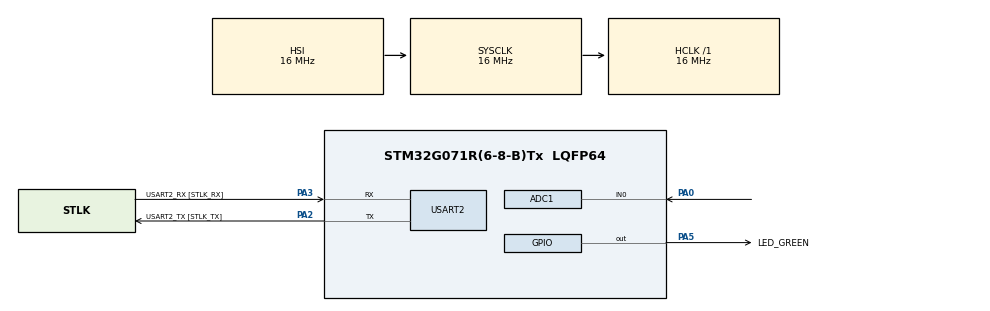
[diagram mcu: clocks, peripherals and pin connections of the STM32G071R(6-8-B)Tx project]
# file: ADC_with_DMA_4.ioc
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ADC1.Channel-0\#ChannelRegularConversion=ADC_CHANNEL_0
ADC1.ContinuousConvMode=ENABLE
ADC1.DMAContinuousRequests=ENABLE
ADC1.NbrOfConversionFlag=1
ADC1.Rank-0\#ChannelRegularConversion=1
ADC1.SamplingTime-0\#ChannelRegularConversion=ADC_SAMPLINGTIME_COMMON_1
ADC1.SelectedChannel=ADC_CHANNEL_0
ADC1.master=1
Dma.ADC1.0.Direction=DMA_PERIPH_TO_MEMORY
Dma.ADC1.0.EventEnable=DISABLE
Dma.ADC1.0.Instance=DMA1_Channel1
Dma.ADC1.0.MemDataAlignment=DMA_MDATAALIGN_WORD
Dma.ADC1.0.MemInc=DMA_MINC_ENABLE
Dma.ADC1.0.Mode=DMA_CIRCULAR
Dma.ADC1.0.PeriphDataAlignment=DMA_PDATAALIGN_WORD
Dma.ADC1.0.PeriphInc=DMA_PINC_DISABLE
Dma.ADC1.0.Polarity=HAL_DMAMUX_REQ_GEN_RISING
Dma.ADC1.0.Priority=DMA_PRIORITY_LOW
Dma.ADC1.0.RequestNumber=1
Dma.ADC1.0.SignalID=NONE
Dma.ADC1.0.SyncEnable=DISABLE
Dma.ADC1.0.SyncPolarity=HAL_DMAMUX_SYNC_NO_EVENT
Dma.ADC1.0.SyncRequestNumber=1
Dma.ADC1.0.SyncSignalID=NONE
Dma.Request0=ADC1
Mcu.Family=STM32G0
Mcu.Name=STM32G071R(6-8-B)Tx
Mcu.Package=LQFP64
NVIC.DMA1_Channel1_IRQn=true\:0\:0\:false\:false\:true\:false\:true
PA0.Mode=IN0
PA0.Signal=ADC1_IN0
PA13.GPIO_Label=TMS
PA13.Signal=SYS_SWDIO
PA14-BOOT0.GPIO_Label=TCK
PA14-BOOT0.Signal=SYS_SWCLK
PA2.GPIO_Label=USART2_TX [STLK_TX]
PA2.Mode=Asynchronous
PA2.Signal=USART2_TX
PA3.GPIO_Label=USART2_RX [STLK_RX]
PA3.Mode=Asynchronous
PA3.Signal=USART2_RX
PA5.GPIO_Label=LED_GREEN
PA5.GPIO_Speed=GPIO_SPEED_FREQ_HIGH
PA5.Signal=GPIO_Output
PC13.Signal=SYS_WKUP2
PC14-OSC32_IN\ (PC14).Signal=RCC_OSC32_IN
PC15-OSC32_OUT\ (PC15).Signal=RCC_OSC32_OUT
PF0-OSC_IN\ (PF0).GPIO_Label=MCO
PF0-OSC_IN\ (PF0).Signal=RCC_OSC_IN
ProjectManager.HeapSize=0x200
ProjectManager.StackSize=0x400
ProjectManager.TargetToolchain=STM32CubeIDE
RCC.AHBFreq_Value=16000000
RCC.CortexFreq_Value=16000000
RCC.EXTERNAL_CLOCK_VALUE=12288000
RCC.HCLKFreq_Value=16000000
RCC.HSE_VALUE=8000000
RCC.HSI_VALUE=16000000
RCC.LSE_VALUE=32768
RCC.SYSCLKFreq_VALUE=16000000
RCC.VCOOutputFreq_Value=128000000
TIM6.Prescaler=16000-1
USART2.VirtualMode-Asynchronous=VM_ASYNC
VP_SYS_VS_DBSignals.Mode=DisableDeadBatterySignals
VP_TIM6_VS_ClockSourceINT.Mode=Enable_Timer
board=NUCLEO-G071RB

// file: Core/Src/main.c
/* USER CODE BEGIN Header */
/**
  ******************************************************************************
  * @file           : main.c
  * @brief          : Main program body
  ******************************************************************************
  * @attention
  *
  * <h2><center>&copy; Copyright (c) 2023 STMicroelectronics.
  * All rights reserved.</center></h2>
  *
  * This software component is licensed by ST under BSD 3-Clause license,
  * the "License"; You may not use this file except in compliance with the
  * License. You may obtain a copy of the License at:
  *                        opensource.org/licenses/BSD-3-Clause
  *
  ******************************************************************************
  */
/* USER CODE END Header */
#include "main.h"

ADC_HandleTypeDef hadc1;
DMA_HandleTypeDef hdma_adc1;

TIM_HandleTypeDef htim6;

UART_HandleTypeDef huart2;

void SystemClock_Config(void);
static void MX_GPIO_Init(void);
static void MX_DMA_Init(void);
static void MX_ADC1_Init(void);
static void MX_TIM6_Init(void);
static void MX_USART2_UART_Init(void);
/* USER CODE BEGIN PFP */
void DMATransferComplete(DMA_HandleTypeDef *hdma);
/* USER CODE END PFP */

int main(void)
{
  /* USER CODE BEGIN 1 */
	int adc_value = 0;
	int msg[10];
	int count;
	//uint32_t channel_0_raw;
	int time1,time2,final_time;
  /* USER CODE END 1 */

  /* MCU Configuration--------------------------------------------------------*/

  /* Reset of all peripherals, Initializes the Flash interface and the Systick. */
  HAL_Init();

  /* Configure the system clock */
  SystemClock_Config();

  /* Initialize all configured peripherals */
  MX_GPIO_Init();
  MX_DMA_Init();
  MX_ADC1_Init();
  MX_TIM6_Init();
  MX_USART2_UART_Init();
  /* USER CODE BEGIN 2 */
  HAL_DMA_RegisterCallback(&hadc1, HAL_DMA_XFER_CPLT_CB_ID, &HAL_ADC_ConvCpltCallback);
  HAL_ADC_Start_DMA(&hadc1, (uint32_t *)&adc_value, 1);
  HAL_TIM_Base_Start(&htim6);
  /* USER CODE END 2 */

  /* Infinite loop */
  /* USER CODE BEGIN WHILE */
  while (1)
  {
	  time1 =__HAL_TIM_GET_COUNTER(&htim6);
	  final_time = 0;
	  count = 0;

	  while(final_time<1000){
//		  HAL_ADC_Start(&hadc1);
//		  HAL_ADC_PollForConversion(&hadc1, HAL_MAX_DELAY);
//		  adc_value = HAL_ADC_GetValue(&hadc1);
		  //sprintf(msg,"%hu\r\n",adc_value);
		  //HAL_UART_Transmit(&huart2, (uint8_t*)msg, strlen(msg), 10);
		  count++;
		  time2 = __HAL_TIM_GET_COUNTER(&htim6);
		  final_time = time2 - time1;
	  }

	  sprintf(msg,"rate = %hu  ",count);
	  HAL_UART_Transmit(&huart2, (uint8_t*)msg,strlen(msg), HAL_MAX_DELAY);
	  sprintf(msg,"adc = %hu\r\n",adc_value);
	  HAL_UART_Transmit(&huart2, (uint8_t*)msg,strlen(msg), HAL_MAX_DELAY);
    /* USER CODE END WHILE */

  }
}

void SystemClock_Config(void)
{
  RCC_OscInitTypeDef RCC_OscInitStruct = {0};
  RCC_ClkInitTypeDef RCC_ClkInitStruct = {0};
  RCC_PeriphCLKInitTypeDef PeriphClkInit = {0};

  /** Configure the main internal regulator output voltage
  */
  HAL_PWREx_ControlVoltageScaling(PWR_REGULATOR_VOLTAGE_SCALE1);
  /** Initializes the RCC Oscillators according to the specified parameters
  * in the RCC_OscInitTypeDef structure.
  */
  RCC_OscInitStruct.OscillatorType = RCC_OSCILLATORTYPE_HSI;
  RCC_OscInitStruct.HSIState = RCC_HSI_ON;
  RCC_OscInitStruct.HSIDiv = RCC_HSI_DIV1;
  RCC_OscInitStruct.HSICalibrationValue = RCC_HSICALIBRATION_DEFAULT;
  RCC_OscInitStruct.PLL.PLLState = RCC_PLL_NONE;
  if (HAL_RCC_OscConfig(&RCC_OscInitStruct) != HAL_OK)
  {
    Error_Handler();
  }
  /** Initializes the CPU, AHB and APB buses clocks
  */
  RCC_ClkInitStruct.ClockType = RCC_CLOCKTYPE_HCLK|RCC_CLOCKTYPE_SYSCLK
                              |RCC_CLOCKTYPE_PCLK1;
  RCC_ClkInitStruct.SYSCLKSource = RCC_SYSCLKSOURCE_HSI;
  RCC_ClkInitStruct.AHBCLKDivider = RCC_SYSCLK_DIV1;
  RCC_ClkInitStruct.APB1CLKDivider = RCC_HCLK_DIV1;

  if (HAL_RCC_ClockConfig(&RCC_ClkInitStruct, FLASH_LATENCY_0) != HAL_OK)
  {
    Error_Handler();
  }
  /** Initializes the peripherals clocks
  */
  PeriphClkInit.PeriphClockSelection = RCC_PERIPHCLK_USART2|RCC_PERIPHCLK_ADC;
  PeriphClkInit.Usart2ClockSelection = RCC_USART2CLKSOURCE_PCLK1;
  PeriphClkInit.AdcClockSelection = RCC_ADCCLKSOURCE_SYSCLK;
  if (HAL_RCCEx_PeriphCLKConfig(&PeriphClkInit) != HAL_OK)
  {
    Error_Handler();
  }
}

static void MX_ADC1_Init(void)
{

  ADC_ChannelConfTypeDef sConfig = {0};

  /** Configure the global features of the ADC (Clock, Resolution, Data Alignment and number of conversion)
  */
  hadc1.Instance = ADC1;
  hadc1.Init.ClockPrescaler = ADC_CLOCK_SYNC_PCLK_DIV2;
  hadc1.Init.Resolution = ADC_RESOLUTION_12B;
  hadc1.Init.DataAlign = ADC_DATAALIGN_RIGHT;
  hadc1.Init.ScanConvMode = ADC_SCAN_DISABLE;
  hadc1.Init.EOCSelection = ADC_EOC_SINGLE_CONV;
  hadc1.Init.LowPowerAutoWait = DISABLE;
  hadc1.Init.LowPowerAutoPowerOff = DISABLE;
  hadc1.Init.ContinuousConvMode = ENABLE;
  hadc1.Init.NbrOfConversion = 1;
  hadc1.Init.DiscontinuousConvMode = DISABLE;
  hadc1.Init.ExternalTrigConv = ADC_SOFTWARE_START;
  hadc1.Init.ExternalTrigConvEdge = ADC_EXTERNALTRIGCONVEDGE_NONE;
  hadc1.Init.DMAContinuousRequests = ENABLE;
  hadc1.Init.Overrun = ADC_OVR_DATA_PRESERVED;
  hadc1.Init.SamplingTimeCommon1 = ADC_SAMPLETIME_1CYCLE_5;
  hadc1.Init.SamplingTimeCommon2 = ADC_SAMPLETIME_1CYCLE_5;
  hadc1.Init.OversamplingMode = DISABLE;
  hadc1.Init.TriggerFrequencyMode = ADC_TRIGGER_FREQ_HIGH;
  if (HAL_ADC_Init(&hadc1) != HAL_OK)
  {
    Error_Handler();
  }
  /** Configure Regular Channel
  */
  sConfig.Channel = ADC_CHANNEL_0;
  sConfig.Rank = ADC_REGULAR_RANK_1;
  sConfig.SamplingTime = ADC_SAMPLINGTIME_COMMON_1;
  if (HAL_ADC_ConfigChannel(&hadc1, &sConfig) != HAL_OK)
  {
    Error_Handler();
  }

}

static void MX_TIM6_Init(void)
{

  TIM_MasterConfigTypeDef sMasterConfig = {0};

  htim6.Instance = TIM6;
  htim6.Init.Prescaler = 16000-1;
  htim6.Init.CounterMode = TIM_COUNTERMODE_UP;
  htim6.Init.Period = 65535;
  htim6.Init.AutoReloadPreload = TIM_AUTORELOAD_PRELOAD_DISABLE;
  if (HAL_TIM_Base_Init(&htim6) != HAL_OK)
  {
    Error_Handler();
  }
  sMasterConfig.MasterOutputTrigger = TIM_TRGO_RESET;
  sMasterConfig.MasterSlaveMode = TIM_MASTERSLAVEMODE_DISABLE;
  if (HAL_TIMEx_MasterConfigSynchronization(&htim6, &sMasterConfig) != HAL_OK)
  {
    Error_Handler();
  }

}

static void MX_USART2_UART_Init(void)
{

  huart2.Instance = USART2;
  huart2.Init.BaudRate = 115200;
  huart2.Init.WordLength = UART_WORDLENGTH_8B;
  huart2.Init.StopBits = UART_STOPBITS_1;
  huart2.Init.Parity = UART_PARITY_NONE;
  huart2.Init.Mode = UART_MODE_TX_RX;
  huart2.Init.HwFlowCtl = UART_HWCONTROL_NONE;
  huart2.Init.OverSampling = UART_OVERSAMPLING_16;
  huart2.Init.OneBitSampling = UART_ONE_BIT_SAMPLE_DISABLE;
  huart2.Init.ClockPrescaler = UART_PRESCALER_DIV1;
  huart2.AdvancedInit.AdvFeatureInit = UART_ADVFEATURE_NO_INIT;
  if (HAL_UART_Init(&huart2) != HAL_OK)
  {
    Error_Handler();
  }
  if (HAL_UARTEx_SetTxFifoThreshold(&huart2, UART_TXFIFO_THRESHOLD_1_8) != HAL_OK)
  {
    Error_Handler();
  }
  if (HAL_UARTEx_SetRxFifoThreshold(&huart2, UART_RXFIFO_THRESHOLD_1_8) != HAL_OK)
  {
    Error_Handler();
  }
  if (HAL_UARTEx_DisableFifoMode(&huart2) != HAL_OK)
  {
    Error_Handler();
  }

}

static void MX_DMA_Init(void)
{

  /* DMA controller clock enable */
  __HAL_RCC_DMA1_CLK_ENABLE();

  /* DMA interrupt init */
  /* DMA1_Channel1_IRQn interrupt configuration */
  HAL_NVIC_SetPriority(DMA1_Channel1_IRQn, 0, 0);
  HAL_NVIC_EnableIRQ(DMA1_Channel1_IRQn);

}

static void MX_GPIO_Init(void)
{
  GPIO_InitTypeDef GPIO_InitStruct = {0};

  /* GPIO Ports Clock Enable */
  __HAL_RCC_GPIOC_CLK_ENABLE();
  __HAL_RCC_GPIOF_CLK_ENABLE();
  __HAL_RCC_GPIOA_CLK_ENABLE();

  /*Configure GPIO pin Output Level */
  HAL_GPIO_WritePin(LED_GREEN_GPIO_Port, LED_GREEN_Pin, GPIO_PIN_RESET);

  /*Configure GPIO pin : LED_GREEN_Pin */
  GPIO_InitStruct.Pin = LED_GREEN_Pin;
  GPIO_InitStruct.Mode = GPIO_MODE_OUTPUT_PP;
  GPIO_InitStruct.Pull = GPIO_NOPULL;
  GPIO_InitStruct.Speed = GPIO_SPEED_FREQ_HIGH;
  HAL_GPIO_Init(LED_GREEN_GPIO_Port, &GPIO_InitStruct);

}

/* USER CODE BEGIN 4 */
void DMATransferComplete(DMA_HandleTypeDef *hdma)
{

	//Disable UART DMA mode
	//huart2.Instance->CR3 &= ~USART_CR3_DMAT;
	//static int count;
	//count++;
	//HAL_UART_Transmit(&huart2, (uint8_t*)count, sizeof(count), 1000);
	HAL_UART_Transmit(&huart2, "Transfer completed\r\n", sizeof("Transfer completed\r\n"), HAL_MAX_DELAY);
	//Toggle LD2

}

void HAL_ADC_ConvCpltCallback(ADC_HandleTypeDef *hadc)
{
	HAL_UART_Transmit(&huart2, "Transfer completed\r\n", sizeof("Transfer completed\r\n"), HAL_MAX_DELAY);
		//Toggle LD2
}
/* USER CODE END 4 */

void Error_Handler(void)
{
  __disable_irq();
  while (1)
  {
  }
}

/************************ (C) COPYRIGHT STMicroelectronics *****END OF FILE****/
